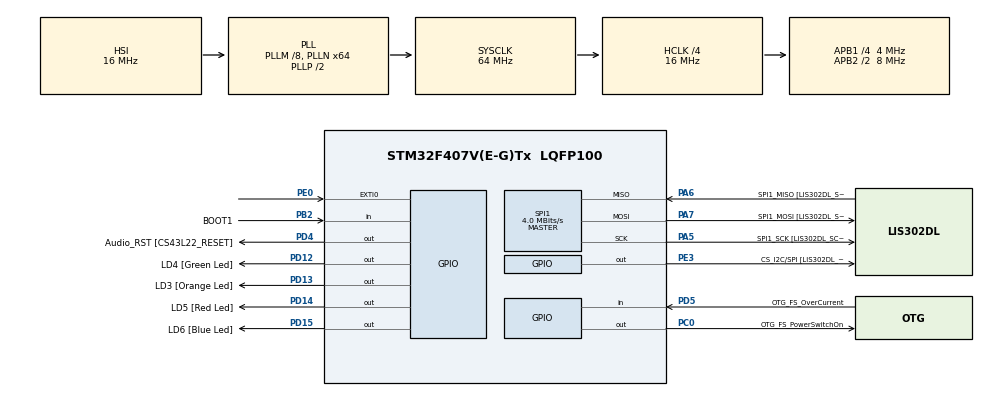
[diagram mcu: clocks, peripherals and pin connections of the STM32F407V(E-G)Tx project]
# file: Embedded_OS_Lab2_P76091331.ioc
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Mcu.Family=STM32F4
Mcu.Name=STM32F407V(E-G)Tx
Mcu.Package=LQFP100
NVIC.EXTI0_IRQn=true\:6\:0\:true\:false\:true\:true\:true
NVIC.PriorityGroup=NVIC_PRIORITYGROUP_4
NVIC.TIM6_DAC_IRQn=true\:0\:0\:false\:false\:true\:false\:true
NVIC.TimeBase=TIM6_DAC_IRQn
NVIC.TimeBaseIP=TIM6
PA10.GPIO_Label=OTG_FS_ID
PA10.GPIO_Mode=GPIO_MODE_AF_PP
PA10.GPIO_PuPd=GPIO_NOPULL
PA10.GPIO_Speed=GPIO_SPEED_FREQ_LOW
PA10.Signal=USB_OTG_FS_ID
PA11.GPIO_Label=OTG_FS_DM
PA11.GPIO_Mode=GPIO_MODE_AF_PP
PA11.GPIO_PuPd=GPIO_NOPULL
PA11.GPIO_Speed=GPIO_SPEED_FREQ_LOW
PA11.Signal=USB_OTG_FS_DM
PA12.GPIO_Label=OTG_FS_DP
PA12.GPIO_Mode=GPIO_MODE_AF_PP
PA12.GPIO_PuPd=GPIO_NOPULL
PA12.GPIO_Speed=GPIO_SPEED_FREQ_LOW
PA12.Signal=USB_OTG_FS_DP
PA13.GPIO_Label=SWDIO
PA13.Mode=Serial_Wire
PA13.Signal=SYS_JTMS-SWDIO
PA14.GPIO_Label=SWCLK
PA14.Mode=Serial_Wire
PA14.Signal=SYS_JTCK-SWCLK
PA4.GPIO_Label=I2S3_WS [CS43L22_LRCK]
PA4.GPIO_Mode=GPIO_MODE_AF_PP
PA4.GPIO_PuPd=GPIO_NOPULL
PA4.GPIO_Speed=GPIO_SPEED_FREQ_LOW
PA4.Signal=I2S3_WS
PA5.GPIO_Label=SPI1_SCK [LIS302DL_SCL/SPC]
PA5.GPIO_Mode=GPIO_MODE_AF_PP
PA5.GPIO_PuPd=GPIO_NOPULL
PA5.GPIO_Speed=GPIO_SPEED_FREQ_LOW
PA5.Mode=Full_Duplex_Master
PA5.Signal=SPI1_SCK
PA6.GPIO_Label=SPI1_MISO [LIS302DL_SDO]
PA6.GPIO_Mode=GPIO_MODE_AF_PP
PA6.GPIO_PuPd=GPIO_NOPULL
PA6.GPIO_Speed=GPIO_SPEED_FREQ_LOW
PA6.Mode=Full_Duplex_Master
PA6.Signal=SPI1_MISO
PA7.GPIO_Label=SPI1_MOSI [LIS302DL_SDA/SDI/SDO]
PA7.GPIO_Mode=GPIO_MODE_AF_PP
PA7.GPIO_PuPd=GPIO_NOPULL
PA7.GPIO_Speed=GPIO_SPEED_FREQ_LOW
PA7.Mode=Full_Duplex_Master
PA7.Signal=SPI1_MOSI
PA9.GPIO_Label=VBUS_FS
PA9.GPIO_Mode=GPIO_MODE_INPUT
PA9.GPIO_PuPd=GPIO_NOPULL
PA9.Signal=USB_OTG_FS_VBUS
PB10.GPIO_Label=CLK_IN [MP45DT02_CLK]
PB10.GPIO_Mode=GPIO_MODE_AF_PP
PB10.GPIO_PuPd=GPIO_NOPULL
PB10.GPIO_Speed=GPIO_SPEED_FREQ_LOW
PB10.Signal=I2S2_CK
PB2.GPIO_Label=BOOT1
PB2.GPIO_Mode=GPIO_MODE_INPUT
PB2.GPIO_PuPd=GPIO_NOPULL
PB2.Signal=GPIO_Input
PB3.GPIO_Label=SWO
PB3.Signal=SYS_JTDO-SWO
PB6.GPIO_Label=Audio_SCL [CS43L22_SCL]
PB6.GPIO_Mode=GPIO_MODE_AF_OD
PB6.GPIO_PuPd=GPIO_NOPULL
PB6.GPIO_Speed=GPIO_SPEED_FREQ_LOW
PB6.Signal=I2C1_SCL
PB9.GPIO_Label=Audio_SDA [CS43L22_SDA]
PB9.GPIO_Mode=GPIO_MODE_AF_OD
PB9.GPIO_PuPd=GPIO_NOPULL
PB9.GPIO_Speed=GPIO_SPEED_FREQ_LOW
PB9.Signal=I2C1_SDA
PC0.GPIO_Label=OTG_FS_PowerSwitchOn
PC0.GPIO_PuPd=GPIO_NOPULL
PC0.GPIO_Speed=GPIO_SPEED_FREQ_LOW
PC0.PinState=GPIO_PIN_SET
PC0.Signal=GPIO_Output
PC10.GPIO_Label=I2S3_SCK [CS43L22_SCLK]
PC10.GPIO_Mode=GPIO_MODE_AF_PP
PC10.GPIO_PuPd=GPIO_NOPULL
PC10.GPIO_Speed=GPIO_SPEED_FREQ_LOW
PC10.Signal=I2S3_CK
PC12.GPIO_Label=I2S3_SD [CS43L22_SDIN]
PC12.GPIO_Mode=GPIO_MODE_AF_PP
PC12.GPIO_PuPd=GPIO_NOPULL
PC12.GPIO_Speed=GPIO_SPEED_FREQ_LOW
PC12.Signal=I2S3_SD
PC14-OSC32_IN.GPIO_Label=PC14-OSC32_IN
PC14-OSC32_IN.Signal=RCC_OSC32_IN
PC15-OSC32_OUT.GPIO_Label=PC15-OSC32_OUT
PC15-OSC32_OUT.Signal=RCC_OSC32_OUT
PC3.GPIO_Label=PDM_OUT [MP45DT02_DOUT]
PC3.GPIO_Mode=GPIO_MODE_AF_PP
PC3.GPIO_PuPd=GPIO_NOPULL
PC3.GPIO_Speed=GPIO_SPEED_FREQ_LOW
PC3.Signal=I2S2_SD
PC7.GPIO_Label=I2S3_MCK [CS43L22_MCLK]
PC7.GPIO_Mode=GPIO_MODE_AF_PP
PC7.GPIO_PuPd=GPIO_NOPULL
PC7.GPIO_Speed=GPIO_SPEED_FREQ_LOW
PC7.Signal=I2S3_MCK
PD12.GPIO_Label=LD4 [Green Led]
PD12.GPIO_PuPd=GPIO_NOPULL
PD12.GPIO_Speed=GPIO_SPEED_FREQ_LOW
PD12.Signal=GPIO_Output
PD13.GPIO_Label=LD3 [Orange Led]
PD13.GPIO_PuPd=GPIO_NOPULL
PD13.GPIO_Speed=GPIO_SPEED_FREQ_LOW
PD13.Signal=GPIO_Output
PD14.GPIO_Label=LD5 [Red Led]
PD14.GPIO_PuPd=GPIO_NOPULL
PD14.GPIO_Speed=GPIO_SPEED_FREQ_LOW
PD14.Signal=GPIO_Output
PD15.GPIO_Label=LD6 [Blue Led]
PD15.GPIO_PuPd=GPIO_NOPULL
PD15.GPIO_Speed=GPIO_SPEED_FREQ_LOW
PD15.Signal=GPIO_Output
PD4.GPIO_Label=Audio_RST [CS43L22_RESET]
PD4.GPIO_PuPd=GPIO_NOPULL
PD4.GPIO_Speed=GPIO_SPEED_FREQ_LOW
PD4.Signal=GPIO_Output
PD5.GPIO_Label=OTG_FS_OverCurrent
PD5.GPIO_Mode=GPIO_MODE_INPUT
PD5.GPIO_PuPd=GPIO_NOPULL
PD5.Signal=GPIO_Input
PE0.Signal=GPXTI0
PE3.GPIO_Label=CS_I2C/SPI [LIS302DL_CS_I2C/SPI]
PE3.GPIO_PuPd=GPIO_NOPULL
PE3.GPIO_Speed=GPIO_SPEED_FREQ_LOW
PE3.Signal=GPIO_Output
PH0-OSC_IN.GPIO_Label=PH0-OSC_IN
PH0-OSC_IN.Signal=RCC_OSC_IN
PH1-OSC_OUT.GPIO_Label=PH1-OSC_OUT
PH1-OSC_OUT.Signal=RCC_OSC_OUT
ProjectManager.HeapSize=0x200
ProjectManager.StackSize=0x400
ProjectManager.TargetToolchain=STM32CubeIDE
RCC.48MHZClocksFreq_Value=18285714.285714287
RCC.AHBCLKDivider=RCC_SYSCLK_DIV4
RCC.AHBFreq_Value=16000000
RCC.APB1CLKDivider=RCC_HCLK_DIV4
RCC.APB1Freq_Value=4000000
RCC.APB1TimFreq_Value=8000000
RCC.APB2CLKDivider=RCC_HCLK_DIV2
RCC.APB2Freq_Value=8000000
RCC.APB2TimFreq_Value=16000000
RCC.CortexFreq_Value=16000000
RCC.HCLKFreq_Value=16000000
RCC.HSE_VALUE=8000000
RCC.HSI_VALUE=16000000
RCC.LSE_VALUE=32768
RCC.PLLM=8
RCC.PLLN=64
RCC.PLLQ=7
RCC.SYSCLKFreq_VALUE=64000000
RCC.SYSCLKSource=RCC_SYSCLKSOURCE_PLLCLK
RCC.VCOOutputFreq_Value=128000000
SPI1.CalculateBaudRate=4.0 MBits/s
SPI1.Direction=SPI_DIRECTION_2LINES
SPI1.Mode=SPI_MODE_MASTER
SPI1.VirtualType=VM_MASTER
VP_SYS_VS_tim6.Mode=TIM6
board=STM32F407G-DISC1

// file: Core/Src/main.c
/* USER CODE BEGIN Header */
/**
  ******************************************************************************
  * @file           : main.c
  * @brief          : Main program body
  ******************************************************************************
  * @attention
  *
  * <h2><center>&copy; Copyright (c) 2021 STMicroelectronics.
  * All rights reserved.</center></h2>
  *
  * This software component is licensed by ST under BSD 3-Clause license,
  * the "License"; You may not use this file except in compliance with the
  * License. You may obtain a copy of the License at:
  *                        opensource.org/licenses/BSD-3-Clause
  *
  ******************************************************************************
  */
/* USER CODE END Header */
#include "main.h"
#include "FreeRTOS.h"
#include "FreeRTOSConfig.h"
#include "task.h"
#include "semphr.h"

SPI_HandleTypeDef hspi1;

/* USER CODE BEGIN PV */
SemaphoreHandle_t xSemaphore;

/* USER CODE END PV */

void SystemClock_Config(void);
static void MX_GPIO_Init(void);
static void MX_SPI1_Init(void);
/* USER CODE BEGIN PFP */
void green_blinking();
void orange_blinking();
/* USER CODE END PFP */

/* USER CODE BEGIN 0 */
void MEMS_Write(uint8_t address,uint8_t data){
	HAL_GPIO_WritePin(GPIOE, GPIO_PIN_3, GPIO_PIN_RESET);
	HAL_SPI_Transmit(&hspi1,&address,1,10);
	HAL_SPI_Transmit(&hspi1,&data,1,10);
	HAL_GPIO_WritePin(GPIOE, GPIO_PIN_3,GPIO_PIN_SET);
}
void MEMS_Read(uint8_t address,uint8_t *data){
    address |= 0x80;
	HAL_GPIO_WritePin(GPIOE,GPIO_PIN_3,GPIO_PIN_RESET);
	HAL_SPI_Transmit(&hspi1,&address,1,10);
	HAL_SPI_Receive(&hspi1,data,1,10);
	HAL_GPIO_WritePin(GPIOE,GPIO_PIN_3,GPIO_PIN_SET);
}
/* USER CODE END 0 */

int main(void)
{

  /* MCU Configuration--------------------------------------------------------*/

  /* Reset of all peripherals, Initializes the Flash interface and the Systick. */
  HAL_Init();

  /* Configure the system clock */
  SystemClock_Config();

  /* Initialize all configured peripherals */
   MX_GPIO_Init();
   MX_SPI1_Init();
   MEMS_Write(0x21,0x01);
   MEMS_Write(0x23,0x48);
   MEMS_Write(0x20,0x67);
   MEMS_Write(0x24,0x00);
   MEMS_Write(0x57,0x55);
   MEMS_Write(0x40,0x05);
   MEMS_Write(0x41,0x11);
   MEMS_Write(0x59,0xFC);
   MEMS_Write(0x5A,0xFC);
   MEMS_Write(0x5B,0x01);
  /* USER CODE BEGIN 2 */

   xSemaphore=xSemaphoreCreateBinary();
   xTaskCreate(green_blinking,"task1",1024,(void *)1,1,NULL);
   xTaskCreate(orange_blinking,"task2",1024,(void *)1,2,NULL);

   vTaskStartScheduler();
  /* USER CODE END 2 */

  /* Infinite loop */
  while (1)
  {

    /* USER CODE BEGIN 3 */
	//MEMS_Read(0x0f,&data);
	  //if(data == 0x3f){
	  // HAL_GPIO_TogglePin(GPIOD, GPIO_PIN_12);
	  //}
	  //HAL_Delay(1000);
  }
  /* USER CODE END 3 */
}

void SystemClock_Config(void)
{
  RCC_OscInitTypeDef RCC_OscInitStruct = {0};
  RCC_ClkInitTypeDef RCC_ClkInitStruct = {0};

  /** Configure the main internal regulator output voltage
  */
  __HAL_RCC_PWR_CLK_ENABLE();
  __HAL_PWR_VOLTAGESCALING_CONFIG(PWR_REGULATOR_VOLTAGE_SCALE1);
  /** Initializes the RCC Oscillators according to the specified parameters
  * in the RCC_OscInitTypeDef structure.
  */
  RCC_OscInitStruct.OscillatorType = RCC_OSCILLATORTYPE_HSI;
  RCC_OscInitStruct.HSIState = RCC_HSI_ON;
  RCC_OscInitStruct.HSICalibrationValue = RCC_HSICALIBRATION_DEFAULT;
  RCC_OscInitStruct.PLL.PLLState = RCC_PLL_ON;
  RCC_OscInitStruct.PLL.PLLSource = RCC_PLLSOURCE_HSI;
  RCC_OscInitStruct.PLL.PLLM = 8;
  RCC_OscInitStruct.PLL.PLLN = 64;
  RCC_OscInitStruct.PLL.PLLP = RCC_PLLP_DIV2;
  RCC_OscInitStruct.PLL.PLLQ = 7;
  if (HAL_RCC_OscConfig(&RCC_OscInitStruct) != HAL_OK)
  {
    Error_Handler();
  }
  /** Initializes the CPU, AHB and APB buses clocks
  */
  RCC_ClkInitStruct.ClockType = RCC_CLOCKTYPE_HCLK|RCC_CLOCKTYPE_SYSCLK
                              |RCC_CLOCKTYPE_PCLK1|RCC_CLOCKTYPE_PCLK2;
  RCC_ClkInitStruct.SYSCLKSource = RCC_SYSCLKSOURCE_PLLCLK;
  RCC_ClkInitStruct.AHBCLKDivider = RCC_SYSCLK_DIV4;
  RCC_ClkInitStruct.APB1CLKDivider = RCC_HCLK_DIV4;
  RCC_ClkInitStruct.APB2CLKDivider = RCC_HCLK_DIV2;

  if (HAL_RCC_ClockConfig(&RCC_ClkInitStruct, FLASH_LATENCY_0) != HAL_OK)
  {
    Error_Handler();
  }
}

static void MX_SPI1_Init(void)
{

  /* SPI1 parameter configuration*/
  hspi1.Instance = SPI1;
  hspi1.Init.Mode = SPI_MODE_MASTER;
  hspi1.Init.Direction = SPI_DIRECTION_2LINES;
  hspi1.Init.DataSize = SPI_DATASIZE_8BIT;
  hspi1.Init.CLKPolarity = SPI_POLARITY_LOW;
  hspi1.Init.CLKPhase = SPI_PHASE_1EDGE;
  hspi1.Init.NSS = SPI_NSS_SOFT;
  hspi1.Init.BaudRatePrescaler = SPI_BAUDRATEPRESCALER_2;
  hspi1.Init.FirstBit = SPI_FIRSTBIT_MSB;
  hspi1.Init.TIMode = SPI_TIMODE_DISABLE;
  hspi1.Init.CRCCalculation = SPI_CRCCALCULATION_DISABLE;
  hspi1.Init.CRCPolynomial = 10;
  if (HAL_SPI_Init(&hspi1) != HAL_OK)
  {
    Error_Handler();
  }

}

static void MX_GPIO_Init(void)
{
  GPIO_InitTypeDef GPIO_InitStruct = {0};

  /* GPIO Ports Clock Enable */
  __HAL_RCC_GPIOE_CLK_ENABLE();
  __HAL_RCC_GPIOC_CLK_ENABLE();
  __HAL_RCC_GPIOH_CLK_ENABLE();
  __HAL_RCC_GPIOA_CLK_ENABLE();
  __HAL_RCC_GPIOB_CLK_ENABLE();
  __HAL_RCC_GPIOD_CLK_ENABLE();

  /*Configure GPIO pin Output Level */
  HAL_GPIO_WritePin(CS_I2C_SPI_GPIO_Port, CS_I2C_SPI_Pin, GPIO_PIN_RESET);

  /*Configure GPIO pin Output Level */
  HAL_GPIO_WritePin(OTG_FS_PowerSwitchOn_GPIO_Port, OTG_FS_PowerSwitchOn_Pin, GPIO_PIN_SET);

  /*Configure GPIO pin Output Level */
  HAL_GPIO_WritePin(GPIOD, LD4_Pin|LD3_Pin|LD5_Pin|LD6_Pin
                          |Audio_RST_Pin, GPIO_PIN_RESET);

  /*Configure GPIO pin : CS_I2C_SPI_Pin */
  GPIO_InitStruct.Pin = CS_I2C_SPI_Pin;
  GPIO_InitStruct.Mode = GPIO_MODE_OUTPUT_PP;
  GPIO_InitStruct.Pull = GPIO_NOPULL;
  GPIO_InitStruct.Speed = GPIO_SPEED_FREQ_LOW;
  HAL_GPIO_Init(CS_I2C_SPI_GPIO_Port, &GPIO_InitStruct);

  /*Configure GPIO pin : OTG_FS_PowerSwitchOn_Pin */
  GPIO_InitStruct.Pin = OTG_FS_PowerSwitchOn_Pin;
  GPIO_InitStruct.Mode = GPIO_MODE_OUTPUT_PP;
  GPIO_InitStruct.Pull = GPIO_NOPULL;
  GPIO_InitStruct.Speed = GPIO_SPEED_FREQ_LOW;
  HAL_GPIO_Init(OTG_FS_PowerSwitchOn_GPIO_Port, &GPIO_InitStruct);

  /*Configure GPIO pin : PDM_OUT_Pin */
  GPIO_InitStruct.Pin = PDM_OUT_Pin;
  GPIO_InitStruct.Mode = GPIO_MODE_AF_PP;
  GPIO_InitStruct.Pull = GPIO_NOPULL;
  GPIO_InitStruct.Speed = GPIO_SPEED_FREQ_LOW;
  GPIO_InitStruct.Alternate = GPIO_AF5_SPI2;
  HAL_GPIO_Init(PDM_OUT_GPIO_Port, &GPIO_InitStruct);

  /*Configure GPIO pin : I2S3_WS_Pin */
  GPIO_InitStruct.Pin = I2S3_WS_Pin;
  GPIO_InitStruct.Mode = GPIO_MODE_AF_PP;
  GPIO_InitStruct.Pull = GPIO_NOPULL;
  GPIO_InitStruct.Speed = GPIO_SPEED_FREQ_LOW;
  GPIO_InitStruct.Alternate = GPIO_AF6_SPI3;
  HAL_GPIO_Init(I2S3_WS_GPIO_Port, &GPIO_InitStruct);

  /*Configure GPIO pin : BOOT1_Pin */
  GPIO_InitStruct.Pin = BOOT1_Pin;
  GPIO_InitStruct.Mode = GPIO_MODE_INPUT;
  GPIO_InitStruct.Pull = GPIO_NOPULL;
  HAL_GPIO_Init(BOOT1_GPIO_Port, &GPIO_InitStruct);

  /*Configure GPIO pin : CLK_IN_Pin */
  GPIO_InitStruct.Pin = CLK_IN_Pin;
  GPIO_InitStruct.Mode = GPIO_MODE_AF_PP;
  GPIO_InitStruct.Pull = GPIO_NOPULL;
  GPIO_InitStruct.Speed = GPIO_SPEED_FREQ_LOW;
  GPIO_InitStruct.Alternate = GPIO_AF5_SPI2;
  HAL_GPIO_Init(CLK_IN_GPIO_Port, &GPIO_InitStruct);

  /*Configure GPIO pins : LD4_Pin LD3_Pin LD5_Pin LD6_Pin
                           Audio_RST_Pin */
  GPIO_InitStruct.Pin = LD4_Pin|LD3_Pin|LD5_Pin|LD6_Pin
                          |Audio_RST_Pin;
  GPIO_InitStruct.Mode = GPIO_MODE_OUTPUT_PP;
  GPIO_InitStruct.Pull = GPIO_NOPULL;
  GPIO_InitStruct.Speed = GPIO_SPEED_FREQ_LOW;
  HAL_GPIO_Init(GPIOD, &GPIO_InitStruct);

  /*Configure GPIO pins : I2S3_MCK_Pin I2S3_SCK_Pin I2S3_SD_Pin */
  GPIO_InitStruct.Pin = I2S3_MCK_Pin|I2S3_SCK_Pin|I2S3_SD_Pin;
  GPIO_InitStruct.Mode = GPIO_MODE_AF_PP;
  GPIO_InitStruct.Pull = GPIO_NOPULL;
  GPIO_InitStruct.Speed = GPIO_SPEED_FREQ_LOW;
  GPIO_InitStruct.Alternate = GPIO_AF6_SPI3;
  HAL_GPIO_Init(GPIOC, &GPIO_InitStruct);

  /*Configure GPIO pin : VBUS_FS_Pin */
  GPIO_InitStruct.Pin = VBUS_FS_Pin;
  GPIO_InitStruct.Mode = GPIO_MODE_INPUT;
  GPIO_InitStruct.Pull = GPIO_NOPULL;
  HAL_GPIO_Init(VBUS_FS_GPIO_Port, &GPIO_InitStruct);

  /*Configure GPIO pins : OTG_FS_ID_Pin OTG_FS_DM_Pin OTG_FS_DP_Pin */
  GPIO_InitStruct.Pin = OTG_FS_ID_Pin|OTG_FS_DM_Pin|OTG_FS_DP_Pin;
  GPIO_InitStruct.Mode = GPIO_MODE_AF_PP;
  GPIO_InitStruct.Pull = GPIO_NOPULL;
  GPIO_InitStruct.Speed = GPIO_SPEED_FREQ_LOW;
  GPIO_InitStruct.Alternate = GPIO_AF10_OTG_FS;
  HAL_GPIO_Init(GPIOA, &GPIO_InitStruct);

  /*Configure GPIO pin : OTG_FS_OverCurrent_Pin */
  GPIO_InitStruct.Pin = OTG_FS_OverCurrent_Pin;
  GPIO_InitStruct.Mode = GPIO_MODE_INPUT;
  GPIO_InitStruct.Pull = GPIO_NOPULL;
  HAL_GPIO_Init(OTG_FS_OverCurrent_GPIO_Port, &GPIO_InitStruct);

  /*Configure GPIO pins : Audio_SCL_Pin Audio_SDA_Pin */
  GPIO_InitStruct.Pin = Audio_SCL_Pin|Audio_SDA_Pin;
  GPIO_InitStruct.Mode = GPIO_MODE_AF_OD;
  GPIO_InitStruct.Pull = GPIO_PULLUP;
  GPIO_InitStruct.Speed = GPIO_SPEED_FREQ_LOW;
  GPIO_InitStruct.Alternate = GPIO_AF4_I2C1;
  HAL_GPIO_Init(GPIOB, &GPIO_InitStruct);

  /*Configure GPIO pin : PE0 */
  GPIO_InitStruct.Pin = GPIO_PIN_0;
  GPIO_InitStruct.Mode = GPIO_MODE_IT_RISING;
  GPIO_InitStruct.Pull = GPIO_NOPULL;
  HAL_GPIO_Init(GPIOE, &GPIO_InitStruct);

  /* EXTI interrupt init*/
  HAL_NVIC_SetPriority(EXTI0_IRQn, 6, 0);
  HAL_NVIC_EnableIRQ(EXTI0_IRQn);

}

/* USER CODE BEGIN 4 */
void green_blinking()
{
	for(;;)
	{
	  HAL_GPIO_TogglePin(GPIOD, GPIO_PIN_12);
	  vTaskDelay(1000);
	}
}
void orange_blinking()   //handler
{
	 for(;;)                         //interrupt is disabled until we execute MEMS_READ
	 {
	  int8_t data;
	  xSemaphoreTake(xSemaphore,portMAX_DELAY);
	  int i=0;
	  for(;i<5;i++)
	  {
	    HAL_GPIO_WritePin(GPIOD,GPIO_PIN_13,GPIO_PIN_SET);
	    vTaskDelay(1000);
	    HAL_GPIO_WritePin(GPIOD,GPIO_PIN_13,GPIO_PIN_RESET);
	    vTaskDelay(1000);
	  }
	  MEMS_Read(0x5f,&data);                          //reset the register(ensble interrupt)
	 }

 }
void HAL_GPIO_EXTI_Callback(uint16_t GPIO_Pin)   //ISR function
{

       static portBASE_TYPE xHigherPriorityTaskWoken;
       xHigherPriorityTaskWoken=pdFALSE;
       if(HAL_GPIO_ReadPin(GPIOD,GPIO_PIN_14))
       {
           HAL_GPIO_WritePin(GPIOD,GPIO_PIN_14,GPIO_PIN_RESET);
       }
       else
       {
           HAL_GPIO_WritePin(GPIOD,GPIO_PIN_14,GPIO_PIN_SET);
       }
       xSemaphoreGiveFromISR(xSemaphore, &xHigherPriorityTaskWoken);
       portYIELD_FROM_ISR(xHigherPriorityTaskWoken);

}
/* USER CODE END 4 */

 /**
  * @brief  Period elapsed callback in non blocking mode
  * @note   This function is called  when TIM6 interrupt took place, inside
  * HAL_TIM_IRQHandler(). It makes a direct call to HAL_IncTick() to increment
  * a global variable "uwTick" used as application time base.
  * @param  htim : TIM handle
  * @retval None
  */
void HAL_TIM_PeriodElapsedCallback(TIM_HandleTypeDef *htim)
{
  if (htim->Instance == TIM6) {
    HAL_IncTick();
  }
}

void Error_Handler(void)
{
  __disable_irq();
  while (1)
  {
  }
}

/************************ (C) COPYRIGHT STMicroelectronics *****END OF FILE****/
